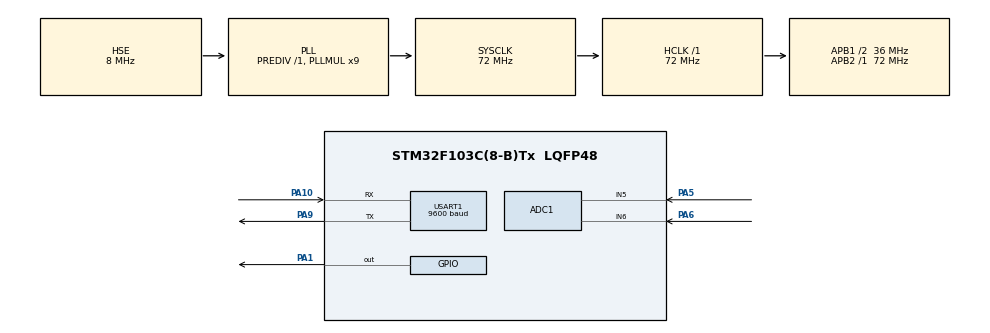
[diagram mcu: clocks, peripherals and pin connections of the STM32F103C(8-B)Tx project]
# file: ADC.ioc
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ADC1.Channel-0\#ChannelRegularConversion=ADC_CHANNEL_5
ADC1.Channel-1\#ChannelRegularConversion=ADC_CHANNEL_6
ADC1.Channel-2\#ChannelRegularConversion=ADC_CHANNEL_TEMPSENSOR
ADC1.ContinuousConvMode=DISABLE
ADC1.DiscontinuousConvMode=ENABLE
ADC1.EnableAnalogWatchDog=true
ADC1.NbrOfConversion=3
ADC1.NbrOfConversionFlag=1
ADC1.Rank-0\#ChannelRegularConversion=1
ADC1.Rank-1\#ChannelRegularConversion=2
ADC1.Rank-2\#ChannelRegularConversion=3
ADC1.SamplingTime-0\#ChannelRegularConversion=ADC_SAMPLETIME_7CYCLES_5
ADC1.SamplingTime-1\#ChannelRegularConversion=ADC_SAMPLETIME_13CYCLES_5
ADC1.SamplingTime-2\#ChannelRegularConversion=ADC_SAMPLETIME_1CYCLE_5
ADC1.WatchdogChannel=ADC_CHANNEL_5
ADC1.master=1
Mcu.Family=STM32F1
Mcu.Name=STM32F103C(8-B)Tx
Mcu.Package=LQFP48
NVIC.PriorityGroup=NVIC_PRIORITYGROUP_4
PA1.GPIO_ModeDefaultOutputPP=GPIO_MODE_OUTPUT_OD
PA1.GPIO_PuPd=GPIO_NOPULL
PA1.Signal=GPIO_Output
PA10.Mode=Asynchronous
PA10.Signal=USART1_RX
PA13.Mode=Serial_Wire
PA13.Signal=SYS_JTMS-SWDIO
PA14.Mode=Serial_Wire
PA14.Signal=SYS_JTCK-SWCLK
PA5.Signal=ADCx_IN5
PA6.Signal=ADCx_IN6
PA9.Mode=Asynchronous
PA9.Signal=USART1_TX
PD0-OSC_IN.Mode=HSE-External-Oscillator
PD0-OSC_IN.Signal=RCC_OSC_IN
PD1-OSC_OUT.Mode=HSE-External-Oscillator
PD1-OSC_OUT.Signal=RCC_OSC_OUT
ProjectManager.HeapSize=0x200
ProjectManager.StackSize=0x400
ProjectManager.TargetToolchain=STM32CubeIDE
RCC.ADCPresc=RCC_ADCPCLK2_DIV6
RCC.AHBFreq_Value=72000000
RCC.APB1CLKDivider=RCC_HCLK_DIV2
RCC.APB1Freq_Value=36000000
RCC.APB1TimFreq_Value=72000000
RCC.APB2Freq_Value=72000000
RCC.APB2TimFreq_Value=72000000
RCC.HCLKFreq_Value=72000000
RCC.PLLMUL=RCC_PLL_MUL9
RCC.PLLSourceVirtual=RCC_PLLSOURCE_HSE
RCC.SYSCLKFreq_VALUE=72000000
RCC.SYSCLKSource=RCC_SYSCLKSOURCE_PLLCLK
RCC.USBFreq_Value=72000000
SH.ADCx_IN5.0=ADC1_IN5,IN5
SH.ADCx_IN6.0=ADC1_IN6,IN6
USART1.BaudRate=9600
USART1.VirtualMode=VM_ASYNC
VP_ADC1_TempSens_Input.Mode=IN-TempSens
board=custom

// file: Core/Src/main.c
/* USER CODE BEGIN Header */
/**
 ******************************************************************************
 * @file           : main.c
 * @brief          : Main program body
 ******************************************************************************
 * @attention
 *
 * Copyright (c) 2024 STMicroelectronics.
 * All rights reserved.
 *
 * This software is licensed under terms that can be found in the LICENSE file
 * in the root directory of this software component.
 * If no LICENSE file comes with this software, it is provided AS-IS.
 *
 ******************************************************************************
 */
/* USER CODE END Header */
#include "main.h"

/* USER CODE BEGIN Includes */
#include "stdio.h"
#include "string.h"
/* USER CODE END Includes */

ADC_HandleTypeDef hadc1;

UART_HandleTypeDef huart1;

void SystemClock_Config(void);
static void MX_GPIO_Init(void);
static void MX_ADC1_Init(void);
static void MX_USART1_UART_Init(void);

/* USER CODE BEGIN 0 */

void get_adc_value(uint16_t *adc_val) {
  int chanel = 0;
  while (1) {
    HAL_ADC_Start(&hadc1);
    HAL_ADC_PollForConversion(&hadc1, 10);
    adc_val[chanel] = HAL_ADC_GetValue(&hadc1);
    chanel++;
    if (chanel == 3) {
      return;
    }
    HAL_Delay(10);
  }
}

/* USER CODE END 0 */

int main(void) {

  /* MCU Configuration--------------------------------------------------------*/

  /* Reset of all peripherals, Initializes the Flash interface and the Systick.
   */
  HAL_Init();

  /* Configure the system clock */
  SystemClock_Config();

  /* Initialize all configured peripherals */
  MX_GPIO_Init();
  MX_ADC1_Init();
  MX_USART1_UART_Init();
  /* USER CODE BEGIN 2 */
  uint8_t data_trans[100];
  uint16_t adc_val[3];
  /* USER CODE END 2 */

  /* Infinite loop */
  while (1) {

    /* USER CODE BEGIN 3 */

    get_adc_value(adc_val);
    float vr1_value = ((float)adc_val[0] / 4095) * 3.3;
    float vr2_value = ((float)adc_val[1] / 4095) * 3.3;
    float sensor_vol = ((float)adc_val[2] / 4095) * 3.3;
    float temperature = ((1.4 - sensor_vol) / 4.478) + 25;
    sprintf((char *)data_trans,
            "Vr1: %.3f(V), Vr2: %.3f(V), sensor: %.2f(doC)\r\n", vr1_value,
            vr2_value, temperature);
    HAL_UART_Transmit(&huart1, &data_trans[0], strlen((char *)data_trans), 100);
    HAL_Delay(1000);
  }
  /* USER CODE END 3 */
}

void SystemClock_Config(void) {
  RCC_OscInitTypeDef RCC_OscInitStruct = {0};
  RCC_ClkInitTypeDef RCC_ClkInitStruct = {0};
  RCC_PeriphCLKInitTypeDef PeriphClkInit = {0};

  /** Initializes the RCC Oscillators according to the specified parameters
   * in the RCC_OscInitTypeDef structure.
   */
  RCC_OscInitStruct.OscillatorType = RCC_OSCILLATORTYPE_HSE;
  RCC_OscInitStruct.HSEState = RCC_HSE_ON;
  RCC_OscInitStruct.HSEPredivValue = RCC_HSE_PREDIV_DIV1;
  RCC_OscInitStruct.HSIState = RCC_HSI_ON;
  RCC_OscInitStruct.PLL.PLLState = RCC_PLL_ON;
  RCC_OscInitStruct.PLL.PLLSource = RCC_PLLSOURCE_HSE;
  RCC_OscInitStruct.PLL.PLLMUL = RCC_PLL_MUL9;
  if (HAL_RCC_OscConfig(&RCC_OscInitStruct) != HAL_OK) {
    Error_Handler();
  }

  /** Initializes the CPU, AHB and APB buses clocks
   */
  RCC_ClkInitStruct.ClockType = RCC_CLOCKTYPE_HCLK | RCC_CLOCKTYPE_SYSCLK |
                                RCC_CLOCKTYPE_PCLK1 | RCC_CLOCKTYPE_PCLK2;
  RCC_ClkInitStruct.SYSCLKSource = RCC_SYSCLKSOURCE_PLLCLK;
  RCC_ClkInitStruct.AHBCLKDivider = RCC_SYSCLK_DIV1;
  RCC_ClkInitStruct.APB1CLKDivider = RCC_HCLK_DIV2;
  RCC_ClkInitStruct.APB2CLKDivider = RCC_HCLK_DIV1;

  if (HAL_RCC_ClockConfig(&RCC_ClkInitStruct, FLASH_LATENCY_2) != HAL_OK) {
    Error_Handler();
  }
  PeriphClkInit.PeriphClockSelection = RCC_PERIPHCLK_ADC;
  PeriphClkInit.AdcClockSelection = RCC_ADCPCLK2_DIV6;
  if (HAL_RCCEx_PeriphCLKConfig(&PeriphClkInit) != HAL_OK) {
    Error_Handler();
  }
}

static void MX_ADC1_Init(void) {

  ADC_AnalogWDGConfTypeDef AnalogWDGConfig = {0};
  ADC_ChannelConfTypeDef sConfig = {0};

  /** Common config
   */
  hadc1.Instance = ADC1;
  hadc1.Init.ScanConvMode = ADC_SCAN_ENABLE;
  hadc1.Init.ContinuousConvMode = DISABLE;
  hadc1.Init.DiscontinuousConvMode = ENABLE;
  hadc1.Init.NbrOfDiscConversion = 1;
  hadc1.Init.ExternalTrigConv = ADC_SOFTWARE_START;
  hadc1.Init.DataAlign = ADC_DATAALIGN_RIGHT;
  hadc1.Init.NbrOfConversion = 3;
  if (HAL_ADC_Init(&hadc1) != HAL_OK) {
    Error_Handler();
  }

  /** Configure Analog WatchDog 1
   */
  AnalogWDGConfig.WatchdogMode = ADC_ANALOGWATCHDOG_SINGLE_REG;
  AnalogWDGConfig.HighThreshold = 0;
  AnalogWDGConfig.LowThreshold = 0;
  AnalogWDGConfig.Channel = ADC_CHANNEL_5;
  AnalogWDGConfig.ITMode = DISABLE;
  if (HAL_ADC_AnalogWDGConfig(&hadc1, &AnalogWDGConfig) != HAL_OK) {
    Error_Handler();
  }

  /** Configure Regular Channel
   */
  sConfig.Channel = ADC_CHANNEL_5;
  sConfig.Rank = ADC_REGULAR_RANK_1;
  sConfig.SamplingTime = ADC_SAMPLETIME_7CYCLES_5;
  if (HAL_ADC_ConfigChannel(&hadc1, &sConfig) != HAL_OK) {
    Error_Handler();
  }

  /** Configure Regular Channel
   */
  sConfig.Channel = ADC_CHANNEL_6;
  sConfig.Rank = ADC_REGULAR_RANK_2;
  sConfig.SamplingTime = ADC_SAMPLETIME_13CYCLES_5;
  if (HAL_ADC_ConfigChannel(&hadc1, &sConfig) != HAL_OK) {
    Error_Handler();
  }

  /** Configure Regular Channel
   */
  sConfig.Channel = ADC_CHANNEL_TEMPSENSOR;
  sConfig.Rank = ADC_REGULAR_RANK_3;
  sConfig.SamplingTime = ADC_SAMPLETIME_1CYCLE_5;
  if (HAL_ADC_ConfigChannel(&hadc1, &sConfig) != HAL_OK) {
    Error_Handler();
  }
}

static void MX_USART1_UART_Init(void) {

  huart1.Instance = USART1;
  huart1.Init.BaudRate = 9600;
  huart1.Init.WordLength = UART_WORDLENGTH_8B;
  huart1.Init.StopBits = UART_STOPBITS_1;
  huart1.Init.Parity = UART_PARITY_NONE;
  huart1.Init.Mode = UART_MODE_TX_RX;
  huart1.Init.HwFlowCtl = UART_HWCONTROL_NONE;
  huart1.Init.OverSampling = UART_OVERSAMPLING_16;
  if (HAL_UART_Init(&huart1) != HAL_OK) {
    Error_Handler();
  }
}

static void MX_GPIO_Init(void) {
  GPIO_InitTypeDef GPIO_InitStruct = {0};

  /* GPIO Ports Clock Enable */
  __HAL_RCC_GPIOD_CLK_ENABLE();
  __HAL_RCC_GPIOA_CLK_ENABLE();

  /*Configure GPIO pin Output Level */
  HAL_GPIO_WritePin(GPIOA, GPIO_PIN_1, GPIO_PIN_RESET);

  /*Configure GPIO pin : PA1 */
  GPIO_InitStruct.Pin = GPIO_PIN_1;
  GPIO_InitStruct.Mode = GPIO_MODE_OUTPUT_OD;
  GPIO_InitStruct.Pull = GPIO_NOPULL;
  GPIO_InitStruct.Speed = GPIO_SPEED_FREQ_LOW;
  HAL_GPIO_Init(GPIOA, &GPIO_InitStruct);

}

void Error_Handler(void) {
  __disable_irq();
  while (1) {
  }
}

#ifdef USE_FULL_ASSERT
/**
 * @brief  Reports the name of the source file and the source line number
 *         where the assert_param error has occurred.
 * @param  file: pointer to the source file name
 * @param  line: assert_param error line source number
 * @retval None
 */
void assert_failed(uint8_t *file, uint32_t line) {
  /* USER CODE BEGIN 6 */
  /* User can add his own implementation to report the file name and line
     number, ex: printf("Wrong parameters value: file %s on line %d\r\n", file,
     line) */
  /* USER CODE END 6 */
}
#endif /* USE_FULL_ASSERT */
